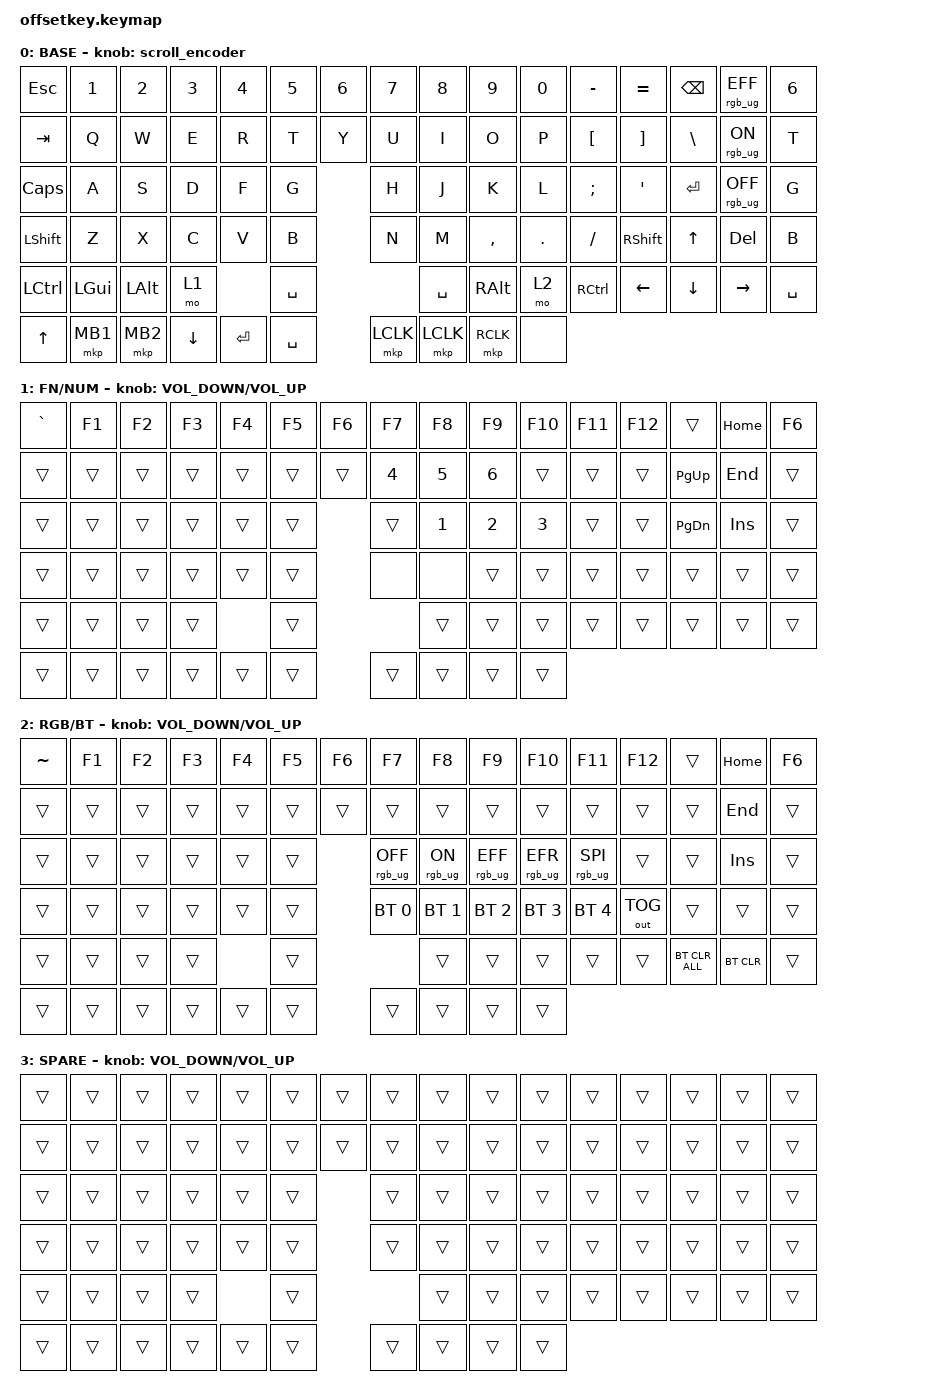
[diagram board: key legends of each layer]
#define ZMK_POINTING_DEFAULT_MOVE_VAL 1200  // 600
#define ZMK_POINTING_DEFAULT_SCRL_VAL 35    // 10
#define BASE 0
#define LOWER 1
#define MOUSE_KEYS 2
#define MOUSE_TP 3
#define MOUSE_TP_SET 4

#include <input/processors.dtsi>
#include <zephyr/dt-bindings/input/input-event-codes.h>
#include <behaviors/toggle_io.dtsi>
#include <behaviors/on_io.dtsi>
#include <behaviors/off_io.dtsi>
#include <input/processors.dtsi>
#include <behaviors.dtsi>
#include <dt-bindings/zmk/bt.h>
#include <dt-bindings/zmk/outputs.h>
#include <dt-bindings/zmk/keys.h>
#include <dt-bindings/zmk/pointing.h>
#include <dt-bindings/zmk/rgb.h>

&mmv_input_listener { input-processors = <&zip_xy_scaler 2 1>; };

&msc_input_listener { input-processors = <&zip_scroll_scaler 2 1>; };

&msc {
    acceleration-exponent = <0>;      // 0
    time-to-max-speed-ms = <0>;       // 300
    delay-ms = <0>;                   // 0
};

&mmv {
    time-to-max-speed-ms = <400>;
    acceleration-exponent = <1>;
};

/ {
    wheel: wheel {
        compatible = "zmk,behavior-wheel-tick";
        #binding-cells = <1>;
    };

    wheel_input_listener: wheel_input_listener {
        compatible = "zmk,input-listener";
        device = <&wheel>;
    };

    // One encoder detent = one mouse wheel click
    scroll_encoder: scroll_encoder {
        compatible = "zmk,behavior-sensor-rotate";
        #sensor-binding-cells = <0>;
        bindings = <&wheel (-1)>, <&wheel 1>;
    };

    behaviors {
        ltq: ltq {
            compatible = "zmk,behavior-hold-tap";
            label = "LTQ";
            bindings = <&mo>, <&kp>;

            #binding-cells = <2>;
            tapping-term-ms = <200>;
            quick-tap-ms = <180>;
        };
    };

    combos {
        compatible = "zmk,combos";

        flash {
            bindings = <&bootloader>;
            key-positions = <0 11>;
        };
    };

    keymap {
        compatible = "zmk,keymap";

        BASE {
            bindings = <
&kp ESC       &kp N1        &kp N2        &kp N3          &kp N4     &kp N5     &kp N6      &kp N7     &kp N8     &kp N9         &kp N0   &kp MINUS  &kp EQUAL        &kp BSPC      &rgb_ug RGB_EFF                  &kp NUMBER_6
&kp TAB       &kp Q         &kp W         &kp E           &kp R      &kp T                  &kp Y      &kp U      &kp I          &kp O    &kp P      &kp LBKT         &kp RBKT      &kp BSLH         &rgb_ug RGB_ON  &kp T
&kp CAPS      &kp A         &kp S         &kp D           &kp F      &kp G                  &kp H      &kp J      &kp K          &kp L    &kp SEMI   &kp APOS         &kp ENTER     &rgb_ug RGB_OFF                  &kp G
&kp LSHFT     &kp Z         &kp X         &kp C           &kp V      &kp B                  &kp N      &kp M      &kp COMMA      &kp DOT  &kp FSLH   &kp RIGHT_SHIFT  &kp UP_ARROW  &kp DELETE                       &kp B
&kp LCTRL     &kp LEFT_GUI  &kp LEFT_ALT  &mo 1                      &kp SPACE                         &kp SPACE  &kp RIGHT_ALT  &mo 2    &kp RCTRL  &kp LEFT         &kp DOWN      &kp RIGHT                        &kp SPACE
&kp UP_ARROW  &mkp MB1      &mkp MB2      &kp DOWN_ARROW  &kp ENTER  &kp SPACE              &mkp LCLK  &mkp LCLK  &mkp RCLK      &none
            >;

            label = "BASE";
            sensor-bindings = <&scroll_encoder>;
        };

        layer_1 {
            bindings = <
&kp GRAVE  &kp F1  &kp F2  &kp F3  &kp F4  &kp F5  &kp F6      &kp F7  &kp F8        &kp F9        &kp F10       &kp F11  &kp F12  &trans     &kp HOME             &kp F6
&trans     &trans  &trans  &trans  &trans  &trans              &trans  &kp NUMBER_4  &kp NUMBER_5  &kp NUMBER_6  &trans   &trans   &trans     &kp PG_UP   &kp END  &trans
&trans     &trans  &trans  &trans  &trans  &trans              &trans  &kp NUMBER_1  &kp NUMBER_2  &kp NUMBER_3  &trans   &trans   &kp PG_DN  &kp INSERT           &trans
&trans     &trans  &trans  &trans  &trans  &trans              &none   &none         &trans        &trans        &trans   &trans   &trans     &trans               &trans
&trans     &trans  &trans  &trans          &trans                      &trans        &trans        &trans        &trans   &trans   &trans     &trans               &trans
&trans     &trans  &trans  &trans  &trans  &trans              &trans  &trans        &trans        &trans
            >;

            label = "FN/NUM";
            sensor-bindings = <&inc_dec_kp C_VOLUME_DOWN C_VOLUME_UP>;
        };

        layer_2 {
            bindings = <
&kp TILDE  &kp F1  &kp F2  &kp F3  &kp F4  &kp F5  &kp F6      &kp F7           &kp F8          &kp F9           &kp F10          &kp F11          &kp F12  &trans          &kp HOME             &kp F6
&trans     &trans  &trans  &trans  &trans  &trans              &trans           &trans          &trans           &trans           &trans           &trans   &trans          &trans      &kp END  &trans
&trans     &trans  &trans  &trans  &trans  &trans              &rgb_ug RGB_OFF  &rgb_ug RGB_ON  &rgb_ug RGB_EFF  &rgb_ug RGB_EFR  &rgb_ug RGB_SPI  &trans   &trans          &kp INSERT           &trans
&trans     &trans  &trans  &trans  &trans  &trans              &bt BT_SEL 0     &bt BT_SEL 1    &bt BT_SEL 2     &bt BT_SEL 3     &bt BT_SEL 4     &out OUT_TOG   &trans          &trans               &trans
&trans     &trans  &trans  &trans          &trans                               &trans          &trans           &trans           &trans           &trans   &bt BT_CLR_ALL  &bt BT_CLR           &trans
&trans     &trans  &trans  &trans  &trans  &trans              &trans           &trans          &trans           &trans
            >;

            label = "RGB/BT";
            sensor-bindings = <&inc_dec_kp C_VOLUME_DOWN C_VOLUME_UP>;
        };

        layer_3 {
            bindings = <
&trans  &trans  &trans  &trans  &trans  &trans  &trans      &trans  &trans  &trans  &trans  &trans  &trans  &trans  &trans          &trans
&trans  &trans  &trans  &trans  &trans  &trans              &trans  &trans  &trans  &trans  &trans  &trans  &trans  &trans  &trans  &trans
&trans  &trans  &trans  &trans  &trans  &trans              &trans  &trans  &trans  &trans  &trans  &trans  &trans  &trans          &trans
&trans  &trans  &trans  &trans  &trans  &trans              &trans  &trans  &trans  &trans  &trans  &trans  &trans  &trans          &trans
&trans  &trans  &trans  &trans          &trans                      &trans  &trans  &trans  &trans  &trans  &trans  &trans          &trans
&trans  &trans  &trans  &trans  &trans  &trans              &trans  &trans  &trans  &trans
            >;

            label = "SPARE";
            sensor-bindings = <&inc_dec_kp C_VOLUME_DOWN C_VOLUME_UP>;
        };
    };
};
